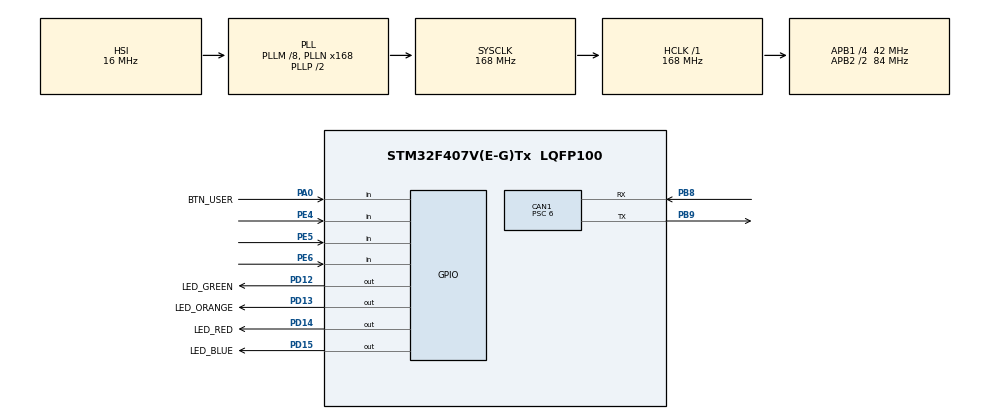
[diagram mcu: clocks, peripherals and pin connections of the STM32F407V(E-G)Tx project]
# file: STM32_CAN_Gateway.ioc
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CAN1.ABOM=ENABLE
CAN1.BS1=CAN_BS1_11TQ
CAN1.BS2=CAN_BS2_2TQ
CAN1.CalculateBaudRate=500000
CAN1.CalculateTimeBit=2000
CAN1.CalculateTimeQuantum=142.85714285714286
CAN1.NART=ENABLE
CAN1.Prescaler=6
Mcu.Family=STM32F4
Mcu.Name=STM32F407V(E-G)Tx
Mcu.Package=LQFP100
NVIC.CAN1_RX0_IRQn=true\:0\:0\:false\:false\:true\:true\:true\:true
NVIC.CAN1_SCE_IRQn=true\:0\:0\:false\:false\:true\:true\:true\:true
NVIC.PriorityGroup=NVIC_PRIORITYGROUP_4
PA0-WKUP.GPIO_Label=BTN_USER
PA0-WKUP.Signal=GPIO_Input
PA13.Mode=Serial_Wire
PA13.Signal=SYS_JTMS-SWDIO
PA14.Mode=Serial_Wire
PA14.Signal=SYS_JTCK-SWCLK
PB8.Mode=CAN_Activate
PB8.Signal=CAN1_RX
PB9.Mode=CAN_Activate
PB9.Signal=CAN1_TX
PD12.GPIO_Label=LED_GREEN
PD12.Signal=GPIO_Output
PD13.GPIO_Label=LED_ORANGE
PD13.Signal=GPIO_Output
PD14.GPIO_Label=LED_RED
PD14.Signal=GPIO_Output
PD15.GPIO_Label=LED_BLUE
PD15.Signal=GPIO_Output
PE4.GPIO_PuPd=GPIO_PULLUP
PE4.Signal=GPIO_Input
PE5.GPIO_PuPd=GPIO_PULLUP
PE5.Signal=GPIO_Input
PE6.GPIO_PuPd=GPIO_PULLUP
PE6.Signal=GPIO_Input
PH0-OSC_IN.Mode=HSE-External-Oscillator
PH0-OSC_IN.Signal=RCC_OSC_IN
PH1-OSC_OUT.Mode=HSE-External-Oscillator
PH1-OSC_OUT.Signal=RCC_OSC_OUT
ProjectManager.HeapSize=0x200
ProjectManager.StackSize=0x400
ProjectManager.TargetToolchain=STM32CubeIDE
RCC.48MHZClocksFreq_Value=84000000
RCC.AHBFreq_Value=168000000
RCC.APB1CLKDivider=RCC_HCLK_DIV4
RCC.APB1Freq_Value=42000000
RCC.APB1TimFreq_Value=84000000
RCC.APB2CLKDivider=RCC_HCLK_DIV2
RCC.APB2Freq_Value=84000000
RCC.APB2TimFreq_Value=168000000
RCC.CortexFreq_Value=168000000
RCC.HCLKFreq_Value=168000000
RCC.HSE_VALUE=8000000
RCC.HSI_VALUE=16000000
RCC.LSE_VALUE=32768
RCC.PLLM=8
RCC.PLLN=168
RCC.SYSCLKFreq_VALUE=168000000
RCC.SYSCLKSource=RCC_SYSCLKSOURCE_PLLCLK
RCC.VCOOutputFreq_Value=336000000
board=custom

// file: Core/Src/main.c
/* USER CODE BEGIN Header */
/**
  ******************************************************************************
  * @file           : main.c
  * @brief          : Main program body
  ******************************************************************************
  * @attention
  *
  * Copyright (c) 2026 STMicroelectronics.
  * All rights reserved.
  *
  * This software is licensed under terms that can be found in the LICENSE file
  * in the root directory of this software component.
  * If no LICENSE file comes with this software, it is provided AS-IS.
  *
  ******************************************************************************
  */
/* USER CODE END Header */
#include "main.h"
#include "can.h"
#include "gpio.h"

/* USER CODE BEGIN Includes */
#include "config.h"
#include "can_protocol.h"
#include "button_manager.h"
#include "led_indicator.h"
/* USER CODE END Includes */

void SystemClock_Config(void);

/* USER CODE BEGIN 0 */
static void OnButtonCommandTriggered(uint8_t cmd, uint8_t seek, uint8_t val) {
    CAN_TxHeaderTypeDef txHeader = {0};
    txHeader.StdId = CAN_ID_COMMAND;
    txHeader.IDE   = CAN_ID_STD;
    txHeader.RTR   = CAN_RTR_DATA;
    txHeader.DLC   = 8;

    static uint8_t counter = 0;
    uint8_t data[8];
    CanProtocol_PackCommand(cmd, seek, val, &counter, data);

    uint32_t mailbox;
    if (HAL_CAN_AddTxMessage(&hcan1, &txHeader, data, &mailbox) == HAL_OK) {
        LED_TriggerTxBlink();
        LED_SetError(false);
    } else {
        LED_SetError(true);
    }
}
/* USER CODE END 0 */

int main(void)
{

  /* MCU Configuration--------------------------------------------------------*/

  /* Reset of all peripherals, Initializes the Flash interface and the Systick. */
  HAL_Init();

  /* Configure the system clock */
  SystemClock_Config();

  /* Initialize all configured peripherals */
  MX_GPIO_Init();
  MX_CAN1_Init();
  /* USER CODE BEGIN 2 */
  LED_Init();
  Button_Init();

  CAN_FilterTypeDef sFilterConfig = {0};
  sFilterConfig.FilterBank = 0;
  sFilterConfig.FilterMode = CAN_FILTERMODE_IDMASK;
  sFilterConfig.FilterScale = CAN_FILTERSCALE_32BIT;
  sFilterConfig.FilterIdHigh = 0x0000;
  sFilterConfig.FilterIdLow = 0x0000;
  sFilterConfig.FilterMaskIdHigh = 0x0000;
  sFilterConfig.FilterMaskIdLow = 0x0000;
  sFilterConfig.FilterFIFOAssignment = CAN_RX_FIFO0;
  sFilterConfig.FilterActivation = CAN_FILTER_ENABLE;
  sFilterConfig.SlaveStartFilterBank = 14;
  HAL_CAN_ConfigFilter(&hcan1, &sFilterConfig);

  HAL_CAN_Start(&hcan1);
  HAL_CAN_ActivateNotification(&hcan1, CAN_IT_RX_FIFO0_MSG_PENDING | CAN_IT_ERROR | CAN_IT_BUSOFF);

  Button_RegisterCallback(OnButtonCommandTriggered);
  /* USER CODE END 2 */

  /* Infinite loop */
  while (1)
  {

    /* USER CODE BEGIN 3 */
    uint32_t now = HAL_GetTick();
    Button_Scan(now);
    LED_Update(now);
    HAL_Delay(2);
  }
  /* USER CODE END 3 */
}

void SystemClock_Config(void)
{
  RCC_OscInitTypeDef RCC_OscInitStruct = {0};
  RCC_ClkInitTypeDef RCC_ClkInitStruct = {0};

  /** Configure the main internal regulator output voltage
  */
  __HAL_RCC_PWR_CLK_ENABLE();
  __HAL_PWR_VOLTAGESCALING_CONFIG(PWR_REGULATOR_VOLTAGE_SCALE1);

  /** Initializes the RCC Oscillators according to the specified parameters
  * in the RCC_OscInitTypeDef structure.
  */
  RCC_OscInitStruct.OscillatorType = RCC_OSCILLATORTYPE_HSI;
  RCC_OscInitStruct.HSIState = RCC_HSI_ON;
  RCC_OscInitStruct.HSICalibrationValue = RCC_HSICALIBRATION_DEFAULT;
  RCC_OscInitStruct.PLL.PLLState = RCC_PLL_ON;
  RCC_OscInitStruct.PLL.PLLSource = RCC_PLLSOURCE_HSI;
  RCC_OscInitStruct.PLL.PLLM = 8;
  RCC_OscInitStruct.PLL.PLLN = 168;
  RCC_OscInitStruct.PLL.PLLP = RCC_PLLP_DIV2;
  RCC_OscInitStruct.PLL.PLLQ = 4;
  if (HAL_RCC_OscConfig(&RCC_OscInitStruct) != HAL_OK)
  {
    Error_Handler();
  }

  /** Initializes the CPU, AHB and APB buses clocks
  */
  RCC_ClkInitStruct.ClockType = RCC_CLOCKTYPE_HCLK|RCC_CLOCKTYPE_SYSCLK
                              |RCC_CLOCKTYPE_PCLK1|RCC_CLOCKTYPE_PCLK2;
  RCC_ClkInitStruct.SYSCLKSource = RCC_SYSCLKSOURCE_PLLCLK;
  RCC_ClkInitStruct.AHBCLKDivider = RCC_SYSCLK_DIV1;
  RCC_ClkInitStruct.APB1CLKDivider = RCC_HCLK_DIV4;
  RCC_ClkInitStruct.APB2CLKDivider = RCC_HCLK_DIV2;

  if (HAL_RCC_ClockConfig(&RCC_ClkInitStruct, FLASH_LATENCY_5) != HAL_OK)
  {
    Error_Handler();
  }
}

/* USER CODE BEGIN 4 */
void HAL_CAN_RxFifo0MsgPendingCallback(CAN_HandleTypeDef *hcan) {
    if (hcan->Instance == CAN1) {
        CAN_RxHeaderTypeDef rxHeader;
        uint8_t rxData[8];
        if (HAL_CAN_GetRxMessage(hcan, CAN_RX_FIFO0, &rxHeader, rxData) == HAL_OK) {
            if (rxHeader.StdId == CAN_ID_STATUS && rxHeader.DLC == CAN_DLC_STANDARD) {
                // Nhận phản hồi trạng thái từ Pi (0x101) -> Cập nhật LED xanh dương & State nút bấm
                LED_SetPlaybackState((PlaybackState_t)rxData[0]);
                Button_UpdatePlaybackState((PlaybackState_t)rxData[0]);
                LED_SetError(false); // Nhận tin hợp lệ -> xóa cảnh báo lỗi
            }
        }
    }
}

void HAL_CAN_ErrorCallback(CAN_HandleTypeDef *hcan) {
    if (hcan->Instance == CAN1) {
        LED_SetError(true); // Bật LED đỏ khi xảy ra lỗi phần cứng bus CAN
    }
}
/* USER CODE END 4 */

void Error_Handler(void)
{
  __disable_irq();
  while (1)
  {
  }
}
